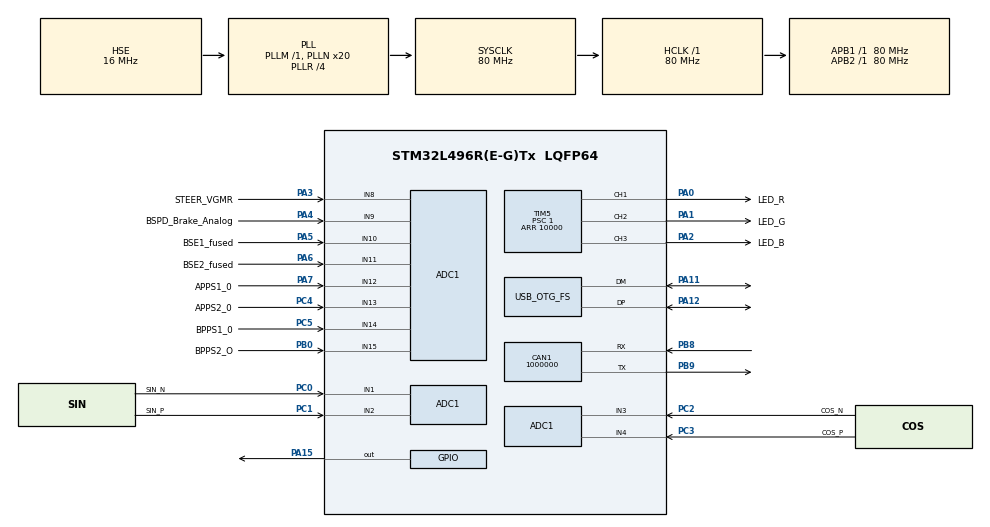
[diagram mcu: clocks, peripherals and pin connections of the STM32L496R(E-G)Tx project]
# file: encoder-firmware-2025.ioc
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ADC1.Channel-10\#ChannelRegularConversion=ADC_CHANNEL_12
ADC1.Channel-11\#ChannelRegularConversion=ADC_CHANNEL_13
ADC1.Channel-14\#ChannelRegularConversion=ADC_CHANNEL_14
ADC1.Channel-15\#ChannelRegularConversion=ADC_CHANNEL_15
ADC1.Channel-2\#ChannelRegularConversion=ADC_CHANNEL_1
ADC1.Channel-3\#ChannelRegularConversion=ADC_CHANNEL_2
ADC1.Channel-4\#ChannelRegularConversion=ADC_CHANNEL_3
ADC1.Channel-5\#ChannelRegularConversion=ADC_CHANNEL_4
ADC1.Channel-6\#ChannelRegularConversion=ADC_CHANNEL_8
ADC1.Channel-7\#ChannelRegularConversion=ADC_CHANNEL_9
ADC1.Channel-8\#ChannelRegularConversion=ADC_CHANNEL_10
ADC1.Channel-9\#ChannelRegularConversion=ADC_CHANNEL_11
ADC1.ContinuousConvMode=ENABLE
ADC1.DMAContinuousRequests=ENABLE
ADC1.EOCSelection=ADC_EOC_SEQ_CONV
ADC1.EnableRegularConversion=ENABLE
ADC1.NbrOfConversion=12
ADC1.NbrOfConversionFlag=1
ADC1.OffsetNumber-10\#ChannelRegularConversion=ADC_OFFSET_NONE
ADC1.OffsetNumber-11\#ChannelRegularConversion=ADC_OFFSET_NONE
ADC1.OffsetNumber-14\#ChannelRegularConversion=ADC_OFFSET_NONE
ADC1.OffsetNumber-15\#ChannelRegularConversion=ADC_OFFSET_NONE
ADC1.OffsetNumber-2\#ChannelRegularConversion=ADC_OFFSET_NONE
ADC1.OffsetNumber-3\#ChannelRegularConversion=ADC_OFFSET_NONE
ADC1.OffsetNumber-4\#ChannelRegularConversion=ADC_OFFSET_NONE
ADC1.OffsetNumber-5\#ChannelRegularConversion=ADC_OFFSET_NONE
ADC1.OffsetNumber-6\#ChannelRegularConversion=ADC_OFFSET_NONE
ADC1.OffsetNumber-7\#ChannelRegularConversion=ADC_OFFSET_NONE
ADC1.OffsetNumber-8\#ChannelRegularConversion=ADC_OFFSET_NONE
ADC1.OffsetNumber-9\#ChannelRegularConversion=ADC_OFFSET_NONE
ADC1.Overrun=ADC_OVR_DATA_PRESERVED
ADC1.OversamplingMode=DISABLE
ADC1.Rank-10\#ChannelRegularConversion=9
ADC1.Rank-11\#ChannelRegularConversion=10
ADC1.Rank-14\#ChannelRegularConversion=11
ADC1.Rank-15\#ChannelRegularConversion=12
ADC1.Rank-2\#ChannelRegularConversion=1
ADC1.Rank-3\#ChannelRegularConversion=2
ADC1.Rank-4\#ChannelRegularConversion=3
ADC1.Rank-5\#ChannelRegularConversion=4
ADC1.Rank-6\#ChannelRegularConversion=5
ADC1.Rank-7\#ChannelRegularConversion=6
ADC1.Rank-8\#ChannelRegularConversion=7
ADC1.Rank-9\#ChannelRegularConversion=8
ADC1.SamplingTime-10\#ChannelRegularConversion=ADC_SAMPLETIME_2CYCLES_5
ADC1.SamplingTime-11\#ChannelRegularConversion=ADC_SAMPLETIME_2CYCLES_5
ADC1.SamplingTime-14\#ChannelRegularConversion=ADC_SAMPLETIME_92CYCLES_5
ADC1.SamplingTime-15\#ChannelRegularConversion=ADC_SAMPLETIME_2CYCLES_5
ADC1.SamplingTime-2\#ChannelRegularConversion=ADC_SAMPLETIME_2CYCLES_5
ADC1.SamplingTime-3\#ChannelRegularConversion=ADC_SAMPLETIME_2CYCLES_5
ADC1.SamplingTime-4\#ChannelRegularConversion=ADC_SAMPLETIME_2CYCLES_5
ADC1.SamplingTime-5\#ChannelRegularConversion=ADC_SAMPLETIME_2CYCLES_5
ADC1.SamplingTime-6\#ChannelRegularConversion=ADC_SAMPLETIME_2CYCLES_5
ADC1.SamplingTime-7\#ChannelRegularConversion=ADC_SAMPLETIME_2CYCLES_5
ADC1.SamplingTime-8\#ChannelRegularConversion=ADC_SAMPLETIME_2CYCLES_5
ADC1.SamplingTime-9\#ChannelRegularConversion=ADC_SAMPLETIME_2CYCLES_5
ADC1.master=1
CAN1.BS1=CAN_BS1_3TQ
CAN1.BS2=CAN_BS2_1TQ
CAN1.CalculateBaudRate=1000000
CAN1.CalculateTimeBit=1000
CAN1.CalculateTimeQuantum=200.0
Dma.ADC1.0.Direction=DMA_PERIPH_TO_MEMORY
Dma.ADC1.0.Instance=DMA1_Channel1
Dma.ADC1.0.MemDataAlignment=DMA_MDATAALIGN_HALFWORD
Dma.ADC1.0.MemInc=DMA_MINC_ENABLE
Dma.ADC1.0.Mode=DMA_CIRCULAR
Dma.ADC1.0.PeriphDataAlignment=DMA_PDATAALIGN_HALFWORD
Dma.ADC1.0.PeriphInc=DMA_PINC_DISABLE
Dma.ADC1.0.Priority=DMA_PRIORITY_HIGH
Dma.Request0=ADC1
Mcu.Family=STM32L4
Mcu.Name=STM32L496R(E-G)Tx
Mcu.Package=LQFP64
NVIC.DMA1_Channel1_IRQn=true\:0\:0\:false\:false\:true\:false\:true\:true
NVIC.OTG_FS_IRQn=true\:0\:0\:false\:false\:true\:false\:true\:true
NVIC.PriorityGroup=NVIC_PRIORITYGROUP_4
PA0.GPIO_Label=LED_R
PA0.GPIO_ModeDefaultPP=GPIO_MODE_AF_OD
PA0.GPIO_Speed=GPIO_SPEED_FREQ_VERY_HIGH
PA0.Signal=S_TIM5_CH1
PA1.GPIO_Label=LED_G
PA1.GPIO_ModeDefaultPP=GPIO_MODE_AF_OD
PA1.GPIO_Speed=GPIO_SPEED_FREQ_VERY_HIGH
PA1.Signal=S_TIM5_CH2
PA11.Mode=Device_Only
PA11.Signal=USB_OTG_FS_DM
PA12.Mode=Device_Only
PA12.Signal=USB_OTG_FS_DP
PA13\ (JTMS/SWDIO).Mode=Trace_Asynchronous_SW
PA13\ (JTMS/SWDIO).Signal=SYS_JTMS-SWDIO
PA14\ (JTCK/SWCLK).Mode=Trace_Asynchronous_SW
PA14\ (JTCK/SWCLK).Signal=SYS_JTCK-SWCLK
PA15\ (JTDI).GPIO_PuPd=GPIO_PULLDOWN
PA15\ (JTDI).Signal=GPIO_Output
PA2.GPIO_Label=LED_B
PA2.Signal=S_TIM5_CH3
PA3.GPIO_Label=STEER_VGMR
PA3.Signal=ADCx_IN8
PA4.GPIO_Label=BSPD_Brake_Analog
PA4.Signal=ADCx_IN9
PA5.GPIO_Label=BSE1_fused
PA5.Signal=ADCx_IN10
PA6.GPIO_Label=BSE2_fused
PA6.Signal=ADCx_IN11
PA7.GPIO_Label=APPS1_0
PA7.Signal=ADCx_IN12
PB0.GPIO_Label=BPPS2_O
PB0.Signal=ADCx_IN15
PB3\ (JTDO/TRACESWO).Mode=Trace_Asynchronous_SW
PB3\ (JTDO/TRACESWO).Signal=SYS_JTDO-SWO
PB8.Mode=CAN_Activate
PB8.Signal=CAN1_RX
PB9.Mode=CAN_Activate
PB9.Signal=CAN1_TX
PC0.GPIO_Label=SIN_N
PC0.Signal=ADCx_IN1
PC1.GPIO_Label=SIN_P
PC1.Signal=ADCx_IN2
PC2.GPIO_Label=COS_N
PC2.Signal=ADCx_IN3
PC3.GPIO_Label=COS_P
PC3.Signal=ADCx_IN4
PC4.GPIO_Label=APPS2_0
PC4.Signal=ADCx_IN13
PC5.GPIO_Label=BPPS1_0
PC5.Signal=ADCx_IN14
PH0-OSC_IN\ (PH0).Mode=HSE-External-Oscillator
PH0-OSC_IN\ (PH0).Signal=RCC_OSC_IN
PH1-OSC_OUT\ (PH1).Mode=HSE-External-Oscillator
PH1-OSC_OUT\ (PH1).Signal=RCC_OSC_OUT
ProjectManager.HeapSize=0x200
ProjectManager.StackSize=0x400
ProjectManager.TargetToolchain=STM32CubeIDE
RCC.ADCCLockSelection=RCC_ADCCLKSOURCE_PLLSAI2
RCC.ADCFreq_Value=64000000
RCC.AHBFreq_Value=80000000
RCC.APB1Freq_Value=80000000
RCC.APB1TimFreq_Value=80000000
RCC.APB2Freq_Value=80000000
RCC.APB2TimFreq_Value=80000000
RCC.CK48CLockSelection=RCC_USBCLKSOURCE_HSI48
RCC.CortexFreq_Value=80000000
RCC.HCLKFreq_Value=80000000
RCC.HSE_VALUE=16000000
RCC.HSI48_VALUE=48000000
RCC.HSI_VALUE=16000000
RCC.LSE_VALUE=32768
RCC.MSI_VALUE=4000000
RCC.PLLN=20
RCC.PLLR=RCC_PLLR_DIV4
RCC.PLLSAI1Q=RCC_PLLQ_DIV8
RCC.PLLSourceVirtual=RCC_PLLSOURCE_HSE
RCC.SYSCLKFreq_VALUE=80000000
RCC.SYSCLKSource=RCC_SYSCLKSOURCE_PLLCLK
RCC.USBFreq_Value=48000000
RCC.VCOOutputFreq_Value=320000000
SH.ADCx_IN1.0=ADC1_IN1,IN1-Single-Ended
SH.ADCx_IN10.0=ADC1_IN10,IN10-Single-Ended
SH.ADCx_IN11.0=ADC1_IN11,IN11-Single-Ended
SH.ADCx_IN12.0=ADC1_IN12,IN12-Single-Ended
SH.ADCx_IN13.0=ADC1_IN13,IN13-Single-Ended
SH.ADCx_IN14.0=ADC1_IN14,IN14-Single-Ended
SH.ADCx_IN15.0=ADC1_IN15,IN15-Single-Ended
SH.ADCx_IN2.0=ADC1_IN2,IN2-Single-Ended
SH.ADCx_IN3.0=ADC1_IN3,IN3-Single-Ended
SH.ADCx_IN4.0=ADC1_IN4,IN4-Single-Ended
SH.ADCx_IN8.0=ADC1_IN8,IN8-Single-Ended
SH.ADCx_IN9.0=ADC1_IN9,IN9-Single-Ended
SH.S_TIM5_CH1.0=TIM5_CH1,PWM Generation1 CH1
SH.S_TIM5_CH2.0=TIM5_CH2,PWM Generation2 CH2
SH.S_TIM5_CH3.0=TIM5_CH3,PWM Generation3 CH3
TIM5.AutoReloadPreload=TIM_AUTORELOAD_PRELOAD_ENABLE
TIM5.Channel-PWM\ Generation1\ CH1=TIM_CHANNEL_1
TIM5.Channel-PWM\ Generation2\ CH2=TIM_CHANNEL_2
TIM5.Channel-PWM\ Generation3\ CH3=TIM_CHANNEL_3
TIM5.ClockDivision=TIM_CLOCKDIVISION_DIV1
TIM5.OCPolarity_1=TIM_OCPOLARITY_LOW
TIM5.OCPolarity_2=TIM_OCPOLARITY_LOW
TIM5.OCPolarity_3=TIM_OCPOLARITY_LOW
TIM5.Period=10000
TIM5.Prescaler=1
USB_DEVICE.CLASS_NAME_FS=CDC
USB_DEVICE.MANUFACTURER_STRING=Longhorn Racing Electric
USB_DEVICE.PRODUCT_STRING_CDC_FS=LHRe Steering Encoder
USB_DEVICE.VirtualMode=Cdc
USB_DEVICE.VirtualModeFS=Cdc_FS
USB_OTG_FS.VirtualMode=Device_Only
VP_TIM5_VS_ClockSourceINT.Mode=Internal
VP_USB_DEVICE_VS_USB_DEVICE_CDC_FS.Mode=CDC_FS
board=custom

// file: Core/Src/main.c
/* USER CODE BEGIN Header */
/**
 ******************************************************************************
 * @file           : main.c
 * @brief          : Main program body
 ******************************************************************************
 * @attention
 *
 * Copyright (c) 2024 STMicroelectronics.
 * All rights reserved.
 *
 * This software is licensed under terms that can be found in the LICENSE file
 * in the root directory of this software component.
 * If no LICENSE file comes with this software, it is provided AS-IS.
 *
 ******************************************************************************
 */
/* USER CODE END Header */
#include "main.h"

#include "adc.h"
#include "can.h"
#include "dma.h"
#include "gpio.h"
#include "tim.h"
#include "usb_device.h"

/* USER CODE BEGIN Includes */
#include <math.h>

/* USER CODE END Includes */

/* USER CODE BEGIN PV */
#define ADC_CONVERSION_FACTOR 0.000801220703f
#define FILTER_SIZE 10

float cos_buffer[FILTER_SIZE] = {0};
int buffer_index = 0;
int buffer_filled = 0;

#define PACKET_ID = 0x0F0;  // apps voltages

#define SENDING_INTERVAL_IN_MS, DATA_LENGTH_IN_BYTES);

/* USER CODE END PV */

void SystemClock_Config(void);

/* USER CODE BEGIN 0 */

// void HAL_ADC_ConvCpltCallback(ADC_HandleTypeDef *hadc1) {
// }
int32_t green = 0;

/* USER CODE END 0 */

int main(void) {
    /* USER CODE BEGIN 1 */

    // if your packet is set to 0 ms interval, it will send immediately every
    // time you call the CAN_AddTxPacket method. Unlikely that you will need to
    // do this. so add this outside of your while loop unless your interval is
    // 0ms, in which case yes add it inside the loop wherever

    /* USER CODE END 1 */

    /* MCU
     * Configuration--------------------------------------------------------*/

    /* Reset of all peripherals, Initializes the Flash interface and the
     * Systick. */
    HAL_Init();

    /* Configure the system clock */
    SystemClock_Config();

    /* Initialize all configured peripherals */
    MX_GPIO_Init();
    MX_DMA_Init();
    MX_TIM5_Init();
    MX_ADC1_Init();
    MX_CAN1_Init();
    MX_USB_DEVICE_Init();

    /* USER CODE BEGIN 2 */
    // HAL_ADCEx_Calibration_Start(&hadc1, ADC_SINGLE_ENDED);
    // HAL_TIM_Base_Start(&htim5);
    float prevtime;
    float cos;
    float mag;
    float cos_max = -INFINITY;
    float cos_min = INFINITY;
    float sin_max = -INFINITY;
    float sin_min = INFINITY;
    float prev_cos = 0.0;
    float prev_sin = 0.0;
    /* USER CODE END 2 */

    /* Infinite loop */
    /* USER CODE BEGIN WHILE */
    while (1) {
    }
    /* USER CODE END 3 */
}

void SystemClock_Config(void) {
    RCC_OscInitTypeDef RCC_OscInitStruct = {0};
    RCC_ClkInitTypeDef RCC_ClkInitStruct = {0};

    /** Configure the main internal regulator output voltage
     */
    if (HAL_PWREx_ControlVoltageScaling(PWR_REGULATOR_VOLTAGE_SCALE1) !=
        HAL_OK) {
        Error_Handler();
    }

    /** Initializes the RCC Oscillators according to the specified parameters
     * in the RCC_OscInitTypeDef structure.
     */
    RCC_OscInitStruct.OscillatorType =
        RCC_OSCILLATORTYPE_HSI48 | RCC_OSCILLATORTYPE_HSE;
    RCC_OscInitStruct.HSEState = RCC_HSE_ON;
    RCC_OscInitStruct.HSI48State = RCC_HSI48_ON;
    RCC_OscInitStruct.PLL.PLLState = RCC_PLL_ON;
    RCC_OscInitStruct.PLL.PLLSource = RCC_PLLSOURCE_HSE;
    RCC_OscInitStruct.PLL.PLLM = 1;
    RCC_OscInitStruct.PLL.PLLN = 20;
    RCC_OscInitStruct.PLL.PLLP = RCC_PLLP_DIV2;
    RCC_OscInitStruct.PLL.PLLQ = RCC_PLLQ_DIV2;
    RCC_OscInitStruct.PLL.PLLR = RCC_PLLR_DIV4;
    if (HAL_RCC_OscConfig(&RCC_OscInitStruct) != HAL_OK) {
        Error_Handler();
    }

    /** Initializes the CPU, AHB and APB buses clocks
     */
    RCC_ClkInitStruct.ClockType = RCC_CLOCKTYPE_HCLK | RCC_CLOCKTYPE_SYSCLK |
                                  RCC_CLOCKTYPE_PCLK1 | RCC_CLOCKTYPE_PCLK2;
    RCC_ClkInitStruct.SYSCLKSource = RCC_SYSCLKSOURCE_PLLCLK;
    RCC_ClkInitStruct.AHBCLKDivider = RCC_SYSCLK_DIV1;
    RCC_ClkInitStruct.APB1CLKDivider = RCC_HCLK_DIV1;
    RCC_ClkInitStruct.APB2CLKDivider = RCC_HCLK_DIV1;

    if (HAL_RCC_ClockConfig(&RCC_ClkInitStruct, FLASH_LATENCY_4) != HAL_OK) {
        Error_Handler();
    }
}

void Error_Handler(void) {
    /* USER CODE BEGIN Error_Handler_Debug */
    /* User can add his own implementation to report the HAL error return state
     */
    __disable_irq();
    while (1) {
    }
    /* USER CODE END Error_Handler_Debug */
}

#ifdef USE_FULL_ASSERT
/**
 * @brief  Reports the name of the source file and the source line number
 *         where the assert_param error has occurred.
 * @param  file: pointer to the source file name
 * @param  line: assert_param error line source number
 * @retval None
 */
void assert_failed(uint8_t *file, uint32_t line) {
    /* USER CODE BEGIN 6 */
    /* User can add his own implementation to report the file name and line
       number, ex: printf("Wrong parameters value: file %s on line %d\r\n",
       file, line) */
    /* USER CODE END 6 */
}
#endif /* USE_FULL_ASSERT */
